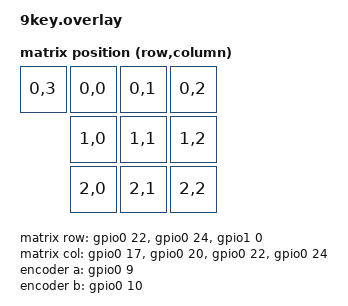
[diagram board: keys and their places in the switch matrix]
/ {
    chosen {
        zmk,kscan = &kscan0;
        zmk,matrix-transform = &default_transform;
    };

    default_transform: keymap_transform_0 {
        compatible = "zmk,matrix-transform";
        columns = <4>;
        rows = <3>;
        map = <
            RC(0,3) RC(0,0) RC(0,1) RC(0,2)
                    RC(1,0) RC(1,1) RC(1,2)
                    RC(2,0) RC(2,1) RC(2,2)
        >;
    };

    kscan0: kscan_composite {
        compatible = "zmk,kscan-composite";
        rows = <3>;
        columns = <4>;

        // Matrix Utama Macropad (COL2ROW)
        matrix {
            compatible = "zmk,kscan-gpio-matrix";
            diode-direction = "col2row";
            
            // Mapping Pin Baru (Asumsi Pro Micro/nice!nano)
            // Menggantikan: B6, B2, B3
            row-gpios
                = <&gpio0 22 (GPIO_ACTIVE_HIGH | GPIO_PULL_DOWN)> // B6 -> P0.22
                , <&gpio0 24 (GPIO_ACTIVE_HIGH | GPIO_PULL_DOWN)> // B2 -> P0.24
                , <&gpio1 0  (GPIO_ACTIVE_HIGH | GPIO_PULL_DOWN)> // B3 -> P1.00
                ;

            // Menggantikan: E6, B4, B5, B1
            col-gpios
                = <&gpio0 17 GPIO_ACTIVE_HIGH> // E6 -> P0.17
                , <&gpio0 20 GPIO_ACTIVE_HIGH> // B4 -> P0.20
                , <&gpio0 22 GPIO_ACTIVE_HIGH> // B5 -> P0.22
                , <&gpio0 24 GPIO_ACTIVE_HIGH> // B1 -> P0.24
                ;
        };
    };

    // Konfigurasi Rotary Encoder
    encoder: encoder {
        compatible = "alps,ec11";
        // Menggantikan F5 dan F6
        a-gpios = <&gpio0 9 (GPIO_ACTIVE_HIGH | GPIO_PULL_UP)>;  // F5 -> P0.09
        b-gpios = <&gpio0 10 (GPIO_ACTIVE_HIGH | GPIO_PULL_UP)>; // F6 -> P0.10
        steps = <80>; // Resolusi dikalikan 4 dari QMK (4 x 20)
    };
};

&encoder {
    status = "okay";
};
